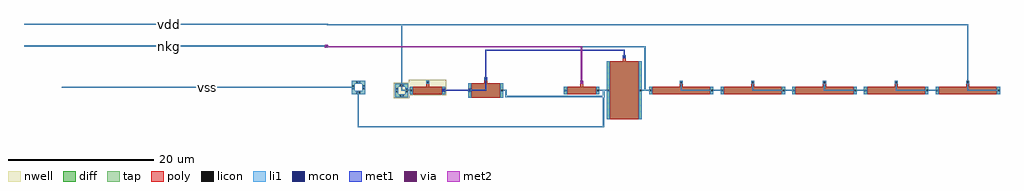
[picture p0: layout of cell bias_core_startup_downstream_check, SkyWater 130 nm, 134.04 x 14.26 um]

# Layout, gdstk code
from math import pi, radians
import gdstk
lib = gdstk.Library(unit=1e-6, precision=1e-09)
def R(c, l, rs):  # rectangles x0, y0, x1, y1
    for r in rs: c.add(gdstk.rectangle(r[:2], r[2:], *l))
def A(c, l, x, y, w, h, nx, ny, dx, dy):  # array of equal rectangles
    R(c, l, [(x+i*dx, y+j*dy, x+i*dx+w, y+j*dy+h) for i in range(nx) for j in range(ny)])
def P(c, l, *ps):  # polygons
    for p in ps: c.add(gdstk.Polygon(p, *l))
nwell = (64, 20)
diff = (65, 20)
tap = (65, 44)
poly = (66, 20)
licon = (66, 44)
li1 = (67, 20)
mcon = (67, 44)
met1 = (68, 20)
via = (68, 44)
met2 = (69, 20)

stub_nkg__promo_stub = lib.new_cell('stub_nkg__promo_stub')
R(stub_nkg__promo_stub, li1, [(0,0,1.5,0.17)])

stub_vdd__promo_stub = lib.new_cell('stub_vdd__promo_stub')
R(stub_vdd__promo_stub, li1, [(0,0,1.5,0.17)])

guard_ring_1 = lib.new_cell('guard_ring$1')
P(guard_ring_1, tap, [(0,0),(0,1.42),(0.42,1.42),(0.42,0.42),(1.42,0.42),(1.42,1.42),(0,1.42),(0,1.84),(1.84,1.84),(1.84,0)])
R(guard_ring_1, licon, [(0.643,0.1,0.863,0.32), (0.977,0.1,1.197,0.32), (0.1,0.643,0.32,0.863), (1.52,0.643,1.74,0.863), (0.1,0.977,0.32,1.197), (1.52,0.977,1.74,1.197), (0.643,1.52,0.863,1.74), (0.977,1.52,1.197,1.74)])
P(guard_ring_1, li1, [(0,0),(0,1.42),(0.42,1.42),(0.42,0.42),(1.42,0.42),(1.42,1.42),(0,1.42),(0,1.84),(1.84,1.84),(1.84,0)])

psub_tap__psub_tap = lib.new_cell('psub_tap__psub_tap')
psub_tap__psub_tap.add(gdstk.Reference(guard_ring_1, (0,0)))

guard_ring = lib.new_cell('guard_ring')
R(guard_ring, nwell, [(-0.15,-0.15,1.99,1.99)])
P(guard_ring, tap, [(0,0),(0,1.42),(0.42,1.42),(0.42,0.42),(1.42,0.42),(1.42,1.42),(0,1.42),(0,1.84),(1.84,1.84),(1.84,0)])
R(guard_ring, licon, [(0.643,0.1,0.863,0.32), (0.977,0.1,1.197,0.32), (0.1,0.643,0.32,0.863), (1.52,0.643,1.74,0.863), (0.1,0.977,0.32,1.197), (1.52,0.977,1.74,1.197), (0.643,1.52,0.863,1.74), (0.977,1.52,1.197,1.74)])
P(guard_ring, li1, [(0,0),(0,1.42),(0.42,1.42),(0.42,0.42),(1.42,0.42),(1.42,1.42),(0,1.42),(0,1.84),(1.84,1.84),(1.84,0)])

nwell_tap__nwell_tap = lib.new_cell('nwell_tap__nwell_tap')
nwell_tap__nwell_tap.add(gdstk.Reference(guard_ring, (0,0)))

mos_array_8 = lib.new_cell('mos_array$8')
R(mos_array_8, nwell, [(-0.15,-0.15,4.99,1.97)])
R(mos_array_8, diff, [(0,0,4.84,1)])
R(mos_array_8, poly, [(0.42,0,4.42,1), (2.21,1,2.63,1.82)])
R(mos_array_8, licon, [(0.1,0.39,0.32,0.61), (4.52,0.39,4.74,0.61), (2.31,1.5,2.53,1.72)])
R(mos_array_8, li1, [(0,0,0.42,1), (4.42,0,4.84,1), (2.21,1.4,2.63,1.82)])

ka__ka = lib.new_cell('ka__ka')
ka__ka.add(gdstk.Reference(mos_array_8, (0,0)))

mos_array_7 = lib.new_cell('mos_array$7')
R(mos_array_7, diff, [(0,0,4.84,2)])
R(mos_array_7, poly, [(0.42,0,4.42,2), (2.21,2,2.63,2.82)])
R(mos_array_7, licon, [(0.1,0.89,0.32,1.11), (4.52,0.89,4.74,1.11), (2.31,2.5,2.53,2.72)])
R(mos_array_7, li1, [(0,0,0.42,2), (4.42,0,4.84,2), (2.21,2.4,2.63,2.82)])

kan__kan = lib.new_cell('kan__kan')
kan__kan.add(gdstk.Reference(mos_array_7, (0,0)))

mos_array_6 = lib.new_cell('mos_array$6')
R(mos_array_6, diff, [(0,0,4.84,1)])
R(mos_array_6, poly, [(0.42,0,4.42,1), (2.21,1,2.63,1.82)])
R(mos_array_6, licon, [(0.1,0.39,0.32,0.61), (4.52,0.39,4.74,0.61), (2.31,1.5,2.53,1.72)])
R(mos_array_6, li1, [(0,0,0.42,1), (4.42,0,4.84,1), (2.21,1.4,2.63,1.82)])

kick__kick = lib.new_cell('kick__kick')
kick__kick.add(gdstk.Reference(mos_array_6, (0,0)))

mos_array_5 = lib.new_cell('mos_array$5')
R(mos_array_5, diff, [(0,0,8.84,1)])
R(mos_array_5, poly, [(0.42,0,8.42,1), (4.21,1,4.63,1.82)])
R(mos_array_5, licon, [(0.1,0.39,0.32,0.61), (8.52,0.39,8.74,0.61), (4.31,1.5,4.53,1.72)])
R(mos_array_5, li1, [(0,0,0.42,1), (8.42,0,8.84,1), (4.21,1.4,4.63,1.82)])

ks0__ks0 = lib.new_cell('ks0__ks0')
ks0__ks0.add(gdstk.Reference(mos_array_5, (0,0)))

mos_array_4 = lib.new_cell('mos_array$4')
R(mos_array_4, diff, [(0,0,8.84,1)])
R(mos_array_4, poly, [(0.42,0,8.42,1), (4.21,1,4.63,1.82)])
R(mos_array_4, licon, [(0.1,0.39,0.32,0.61), (8.52,0.39,8.74,0.61), (4.31,1.5,4.53,1.72)])
R(mos_array_4, li1, [(0,0,0.42,1), (8.42,0,8.84,1), (4.21,1.4,4.63,1.82)])

ks1__ks1 = lib.new_cell('ks1__ks1')
ks1__ks1.add(gdstk.Reference(mos_array_4, (0,0)))

mos_array_3 = lib.new_cell('mos_array$3')
R(mos_array_3, diff, [(0,0,8.84,1)])
R(mos_array_3, poly, [(0.42,0,8.42,1), (4.21,1,4.63,1.82)])
R(mos_array_3, licon, [(0.1,0.39,0.32,0.61), (8.52,0.39,8.74,0.61), (4.31,1.5,4.53,1.72)])
R(mos_array_3, li1, [(0,0,0.42,1), (8.42,0,8.84,1), (4.21,1.4,4.63,1.82)])

ks2__ks2 = lib.new_cell('ks2__ks2')
ks2__ks2.add(gdstk.Reference(mos_array_3, (0,0)))

mos_array_2 = lib.new_cell('mos_array$2')
R(mos_array_2, diff, [(0,0,8.84,1)])
R(mos_array_2, poly, [(0.42,0,8.42,1), (4.21,1,4.63,1.82)])
R(mos_array_2, licon, [(0.1,0.39,0.32,0.61), (8.52,0.39,8.74,0.61), (4.31,1.5,4.53,1.72)])
R(mos_array_2, li1, [(0,0,0.42,1), (8.42,0,8.84,1), (4.21,1.4,4.63,1.82)])

ks3__ks3 = lib.new_cell('ks3__ks3')
ks3__ks3.add(gdstk.Reference(mos_array_2, (0,0)))

mos_array_1 = lib.new_cell('mos_array$1')
R(mos_array_1, diff, [(0,0,8.84,1)])
R(mos_array_1, poly, [(0.42,0,8.42,1), (4.21,1,4.63,1.82)])
R(mos_array_1, licon, [(0.1,0.39,0.32,0.61), (8.52,0.39,8.74,0.61), (4.31,1.5,4.53,1.72)])
R(mos_array_1, li1, [(0,0,0.42,1), (8.42,0,8.84,1), (4.21,1.4,4.63,1.82)])

ks4__ks4 = lib.new_cell('ks4__ks4')
ks4__ks4.add(gdstk.Reference(mos_array_1, (0,0)))

mos_array = lib.new_cell('mos_array')
R(mos_array, diff, [(0,0,4.84,8)])
R(mos_array, poly, [(0.42,0,4.42,8), (2.21,8,2.63,8.82)])
R(mos_array, licon, [(0.1,3.89,0.32,4.11), (4.52,3.89,4.74,4.11), (2.31,8.5,2.53,8.72)])
R(mos_array, li1, [(0,0,0.42,8), (4.42,0,4.84,8), (2.21,8.4,2.63,8.82)])

kpd__kpd = lib.new_cell('kpd__kpd')
kpd__kpd.add(gdstk.Reference(mos_array, (0,0)))

sub__bias_core_startup = lib.new_cell('sub__bias_core_startup')
A(sub__bias_core_startup, li1, 10.05, 5.11, 0.42, 0.17, 5, 1, 9.84, 0)
R(sub__bias_core_startup, li1, [(-34.29,3.54,-33.87,3.71), (-22.58,3.79,-22.16,4.21), (-19,3.79,-18.58,4.21), (-19,3.79,-18.58,4.21), (-28.33,4.71,-27.91,4.88), (-28.33,4.71,-27.91,4.88), (-28.33,4.71,-27.91,4.88), (-3.63,4.9,-3.21,5.32), (-3.63,5.11,-3.21,5.28), (49.41,5.11,49.83,5.28), (-16.79,5.4,-16.37,5.82), (-16.79,5.4,-16.37,5.82), (2.21,8.4,2.63,8.82), (-38.71,9.875,-38.29,10.295)])
R(sub__bias_core_startup, mcon, [(-22.48,3.89,-22.26,4.11), (-18.9,3.89,-18.68,4.11), (-18.9,3.89,-18.68,4.11), (-3.53,5,-3.31,5.22), (-16.69,5.5,-16.47,5.72), (-16.69,5.5,-16.47,5.72), (2.31,8.5,2.53,8.72), (-38.61,9.975,-38.39,10.195)])
R(sub__bias_core_startup, met1, [(-22.58,3.79,-22.16,4.21), (-19,3.79,-18.58,4.21), (-19,3.79,-18.58,4.21), (-3.63,4.9,-3.21,5.32), (-3.63,4.9,-3.21,5.32), (-16.79,5.4,-16.37,5.82), (-16.79,5.4,-16.37,5.82), (2.21,8.4,2.63,8.82), (-38.71,9.875,-38.29,10.295), (-38.71,9.875,-38.29,10.295)])
R(sub__bias_core_startup, via, [(-3.53,5,-3.31,5.22), (-38.61,9.975,-38.39,10.195)])
R(sub__bias_core_startup, met2, [(-3.63,4.9,-3.21,5.32), (-38.71,9.875,-38.29,10.295)])
sub__bias_core_startup.add(gdstk.FlexPath([(53.83,4),(49.62,4),(49.62,5.11)], 0.17, ends="flush", simple_path=True, layer=67, datatype=20))  # li1
sub__bias_core_startup.add(gdstk.FlexPath([(-26.79,4),(-27.41,4)], 0.17, ends="flush", simple_path=True, layer=67, datatype=20))  # li1
sub__bias_core_startup.add(gdstk.FlexPath([(-28.12,4.71),(-28.12,13),(49.62,13),(49.62,5.11)], 0.17, ends="flush", simple_path=True, layer=67, datatype=20))  # li1
sub__bias_core_startup.add(gdstk.FlexPath([(-28.12,4.71),(-28.12,13),(-38.33,13),(-38.33,13.085),(-38.5,13.085)], 0.17, ends="flush", simple_path=True, layer=67, datatype=20))  # li1
sub__bias_core_startup.add(gdstk.FlexPath([(-27.41,4),(-28.12,4),(-28.12,4.71)], 0.17, ends="flush", simple_path=True, layer=67, datatype=20))  # li1
sub__bias_core_startup.add(gdstk.FlexPath([(45.41,4),(43.99,4)], 0.17, ends="flush", simple_path=True, layer=67, datatype=20))  # li1
sub__bias_core_startup.add(gdstk.FlexPath([(43.99,4),(39.78,4),(39.78,5.11)], 0.17, ends="flush", simple_path=True, layer=67, datatype=20))  # li1
sub__bias_core_startup.add(gdstk.FlexPath([(35.57,4),(34.15,4)], 0.17, ends="flush", simple_path=True, layer=67, datatype=20))  # li1
sub__bias_core_startup.add(gdstk.FlexPath([(34.15,4),(29.94,4),(29.94,5.11)], 0.17, ends="flush", simple_path=True, layer=67, datatype=20))  # li1
sub__bias_core_startup.add(gdstk.FlexPath([(25.73,4),(24.31,4)], 0.17, ends="flush", simple_path=True, layer=67, datatype=20))  # li1
sub__bias_core_startup.add(gdstk.FlexPath([(24.31,4),(20.1,4),(20.1,5.11)], 0.17, ends="flush", simple_path=True, layer=67, datatype=20))  # li1
sub__bias_core_startup.add(gdstk.FlexPath([(15.89,4),(14.47,4)], 0.17, ends="flush", simple_path=True, layer=67, datatype=20))  # li1
sub__bias_core_startup.add(gdstk.FlexPath([(14.47,4),(10.26,4),(10.26,5.11)], 0.17, ends="flush", simple_path=True, layer=67, datatype=20))  # li1
sub__bias_core_startup.add(gdstk.FlexPath([(6.05,4),(4.63,4)], 0.17, ends="flush", simple_path=True, layer=67, datatype=20))  # li1
sub__bias_core_startup.add(gdstk.FlexPath([(-3.42,5.11),(-3.42,10),(5.3,10),(5.3,4),(4.63,4)], 0.17, ends="flush", simple_path=True, layer=67, datatype=20))  # li1
sub__bias_core_startup.add(gdstk.FlexPath([(-1.21,4),(0.21,4)], 0.17, ends="flush", simple_path=True, layer=67, datatype=20))  # li1
sub__bias_core_startup.add(gdstk.FlexPath([(-34.08,3.71),(-34.08,-1),(-0.42,-1),(-0.42,4),(0.21,4)], 0.17, ends="flush", simple_path=True, layer=67, datatype=20))  # li1
sub__bias_core_startup.add(gdstk.FlexPath([(0.21,4),(-0.34,4),(-0.34,3.16),(-13.82,3.16),(-13.82,4),(-14.37,4)], 0.17, ends="flush", simple_path=True, layer=67, datatype=20))  # li1
sub__bias_core_startup.add(gdstk.FlexPath([(-3.42,5.11),(-3.42,10),(-38.33,10),(-38.33,10.085),(-38.5,10.085)], 0.17, ends="flush", simple_path=True, layer=69, datatype=20))  # met2
sub__bias_core_startup.add(gdstk.FlexPath([(2.42,8.61),(2.42,9.5),(-16.58,9.5),(-16.58,5.61)], 0.17, ends="flush", simple_path=True, layer=68, datatype=20))  # met1
sub__bias_core_startup.add(gdstk.FlexPath([(-18.79,4),(-16.58,4),(-16.58,5.61)], 0.17, ends="flush", simple_path=True, layer=68, datatype=20))  # met1
sub__bias_core_startup.add(gdstk.FlexPath([(-18.79,4),(-22.37,4)], 0.17, ends="flush", simple_path=True, layer=68, datatype=20))  # met1
sub__bias_core_startup.add(gdstk.Reference(stub_nkg__promo_stub, (-40,10)))
sub__bias_core_startup.add(gdstk.Reference(stub_vdd__promo_stub, (-40,13)))
sub__bias_core_startup.add(gdstk.Reference(psub_tap__psub_tap, (-35,3.5)))
sub__bias_core_startup.add(gdstk.Reference(nwell_tap__nwell_tap, (-29.04,3.08)))
sub__bias_core_startup.add(gdstk.Reference(ka__ka, (-27,3.5)))
sub__bias_core_startup.add(gdstk.Reference(kan__kan, (-14.16,3), rotation=pi, x_reflection=True))
sub__bias_core_startup.add(gdstk.Reference(kick__kick, (-1,3.5), rotation=pi, x_reflection=True))
sub__bias_core_startup.add(gdstk.Reference(ks0__ks0, (45.2,3.5)))
sub__bias_core_startup.add(gdstk.Reference(ks1__ks1, (35.36,3.5)))
sub__bias_core_startup.add(gdstk.Reference(ks2__ks2, (25.52,3.5)))
sub__bias_core_startup.add(gdstk.Reference(ks3__ks3, (15.68,3.5)))
sub__bias_core_startup.add(gdstk.Reference(ks4__ks4, (5.84,3.5)))
sub__bias_core_startup.add(gdstk.Reference(kpd__kpd, (0,0)))
sub__bias_core_startup.add(gdstk.Label('vdd', (51.17,4), layer=67, texttype=5))
sub__bias_core_startup.add(gdstk.Label('ks1', (44.7,4), layer=67, texttype=5))
sub__bias_core_startup.add(gdstk.Label('ks2', (34.86,4), layer=67, texttype=5))
sub__bias_core_startup.add(gdstk.Label('ks3', (25.02,4), layer=67, texttype=5))
sub__bias_core_startup.add(gdstk.Label('ks4', (15.18,4), layer=67, texttype=5))
sub__bias_core_startup.add(gdstk.Label('nkg', (5.34,4), layer=67, texttype=5))
sub__bias_core_startup.add(gdstk.Label('vss', (-0.5,4), layer=67, texttype=5))
sub__bias_core_startup.add(gdstk.Label('pb', (-24.58,5.11), layer=67, texttype=5))
sub__bias_core_startup.add(gdstk.Label('pg', (-5.63,4), layer=67, texttype=5))
sub__bias_core_startup.add(gdstk.Label('vdd', (-40,13.085), layer=67, texttype=5))
sub__bias_core_startup.add(gdstk.Label('nkg', (-40,10.085), layer=67, texttype=5))
sub__bias_core_startup.add(gdstk.Label('vss', (-34.79,4.42), layer=67, texttype=5))
sub__bias_core_startup.add(gdstk.Label('nkm', (-8.58,9.5), layer=68, texttype=5))

dummy_vdd__promo_stub = lib.new_cell('dummy_vdd__promo_stub')
R(dummy_vdd__promo_stub, li1, [(0,0,1.5,0.17)])

dummy_nkg__promo_stub = lib.new_cell('dummy_nkg__promo_stub')
R(dummy_nkg__promo_stub, li1, [(0,0,1.5,0.17)])

dummy_vss__promo_stub = lib.new_cell('dummy_vss__promo_stub')
R(dummy_vss__promo_stub, li1, [(0,0,1.5,0.17)])

bias_core_startup_downst = lib.new_cell('bias_core_startup_downstream_check')
bias_core_startup_downst.add(gdstk.FlexPath([(-40,13.085),(-80,13.085)], 0.17, ends="flush", simple_path=True, layer=67, datatype=20))  # li1
bias_core_startup_downst.add(gdstk.FlexPath([(-40,10.085),(-80,10.085)], 0.17, ends="flush", simple_path=True, layer=67, datatype=20))  # li1
bias_core_startup_downst.add(gdstk.FlexPath([(-34.79,4.42),(-74.79,4.42)], 0.17, ends="flush", simple_path=True, layer=67, datatype=20))  # li1
bias_core_startup_downst.add(gdstk.Reference(sub__bias_core_startup, (0,0)))
bias_core_startup_downst.add(gdstk.Reference(dummy_vdd__promo_stub, (-80,13)))
bias_core_startup_downst.add(gdstk.Reference(dummy_nkg__promo_stub, (-80,10)))
bias_core_startup_downst.add(gdstk.Reference(dummy_vss__promo_stub, (-74.79,4.335)))
bias_core_startup_downst.add(gdstk.Label('vdd', (-60,13.085), layer=67, texttype=5))
bias_core_startup_downst.add(gdstk.Label('nkg', (-60,10.085), layer=67, texttype=5))
bias_core_startup_downst.add(gdstk.Label('vss', (-54.79,4.42), layer=67, texttype=5))

lib.write_gds('bias_core_startup_downstream_check.gds')
